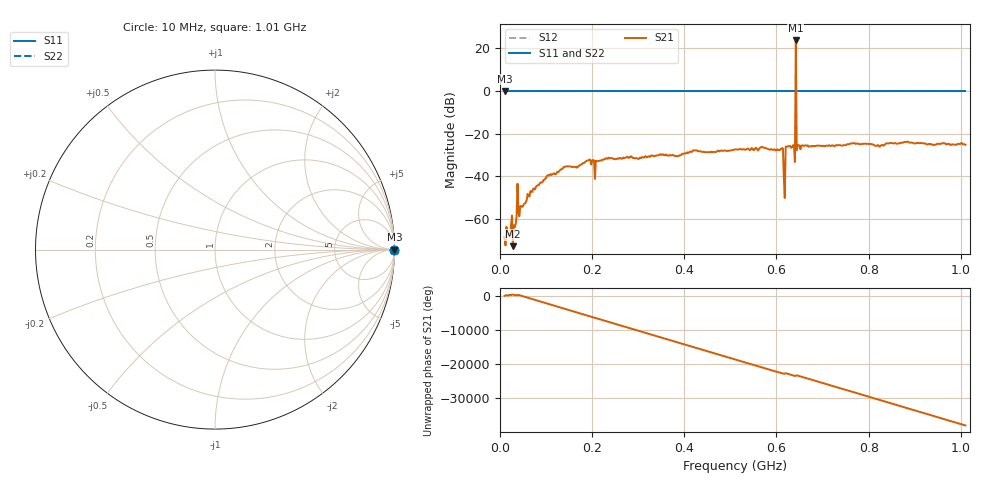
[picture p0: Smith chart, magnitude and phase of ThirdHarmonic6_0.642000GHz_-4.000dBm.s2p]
! 8/15/2025 9:14:43 PM
! C:\ANRITSUVNA\TEMP\TEMP.S2P
! CHANNEL.1
! TR.MEASUREMENT
! RAW.DATA
! RF.CORRECTION.OFF
! AVERAGING.OFF
! IF.BANDWIDTH: 5KHZ
! SWEEPTYPE:  FREQ.SWEEP(Linear)
! Reference Plane Port Info
! PORT:  PORT1  PORT2
! DISTANCE:  0  m  0  m
! TIME:  0  s  0  s
! PHASE.OFFSET:  0  deg.  0  deg.
! LOSS:  0  dB  0  dB
! REF.LOSS:  0  dB  0  dB
! REF.FREQ:  0  Hz  0  Hz
! Power Info
! POWER:  -20  dBm  -20  dBm
! EFF.POWER:  -20  dBm  -20  dBm
! SOURCE.ATTEN:  0  dB  0  dB
! TEST.ATTEN:  0  dB  0  dB
# GHZ S RI R 50.0
! FREQ.GHZ  S11RE  S11IM  S21RE  S21IM  S12RE  S12IM  S22RE  S22IM
!; PortSelection: Port_12
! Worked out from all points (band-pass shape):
!   501 points, 10 MHz to 1.01 GHz, reference 50 ohm
!   highest |S21| = 23.62 dB at 642 MHz (marker M1); lowest = -72.8 dB at 28 MHz (marker M2)
!   |S21| within 3 dB of the highest: 641.8947 MHz to 642.1167 MHz (222 kHz wide, 0.0346 % of centre)
!   lowest |S11| = 0.0 dB at 10 MHz (marker M3)
!   |S11| at or under -10 dB: nowhere
!   |S22| runs from 0.0 to 0.0 dB; largest |S21 - S12| = 14
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0.01  1 0  -0.000228 0.000301  1 0  1 0
0.028  1 0  -0.000179 0.000143  1 0  1 0
0.032  1 0  0.00062 -0.000155  1 0  1 0
0.034  1 0  -0.000198 -0.000719  1 0  1 0
0.042  1 0  0.000807 -0.000812  1 0  1 0
0.044  1 0  -0.00102 -0.00171  1 0  1 0
0.102  1 0  0.00905 0.00471  1 0  1 0
0.178  1 0  -0.019 -0.00415  1 0  1 0
0.344  1 0  0.03 -0.00764  1 0  1 0
0.51  1 0  -0.0389 0.0175  1 0  1 0
0.61  1 0  -0.0104 0.0429  1 0  1 0
0.614  1 0  0.0246 -0.038  1 0  1 0
0.62  1 0  0.0241 0.0427  1 0  1 0
0.624  1 0  -0.0103 -0.0487  1 0  1 0
0.636  1 0  -0.0366 0.0388  1 0  1 0
0.638  1 0  0.0329 0.0411  1 0  1 0
0.642  1 0  12.39 8.765  1 0  1 0
0.646  1 0  0.0027 0.0535  1 0  1 0
0.648  1 0  0.0533 0.00491  1 0  1 0
0.678  1 0  -0.0277 -0.0432  1 0  1 0
0.844  1 0  0.0463 0.0357  1 0  1 0
1.01  1 0  -0.0541 -0.0058  1 0  1 0
